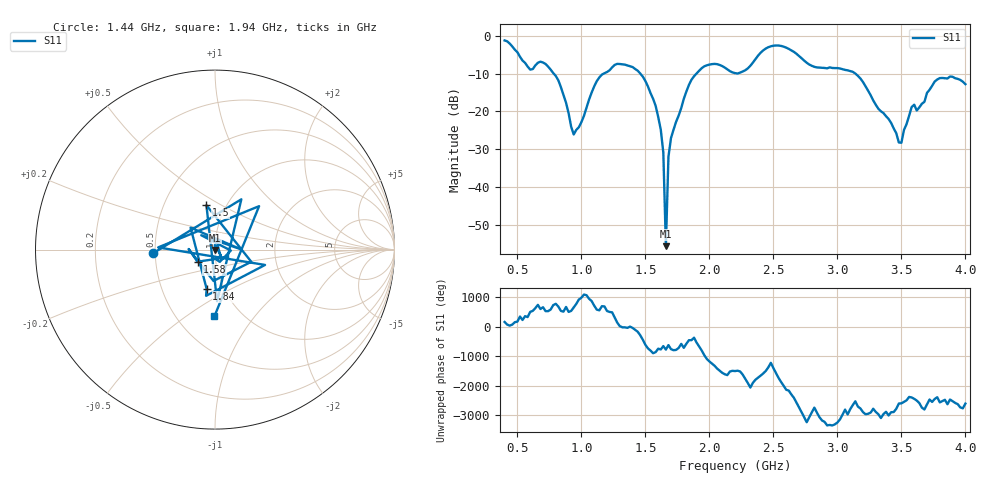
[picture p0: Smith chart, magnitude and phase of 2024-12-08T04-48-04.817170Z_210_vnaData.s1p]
!Created with skrf (http://scikit-rf.org).
# Hz S RI R 50.0
!freq ReS11 ImS11
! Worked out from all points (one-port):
!   181 points, 400 MHz to 4 GHz, reference 50 ohm
!   lowest |S11| = -55.5 dB at 1.66 GHz (marker M1), VSWR 1.00, Z = 50.1 - j0.144 ohm
!   |S11| at or under -10 dB: 783.6 MHz to 1.175 GHz (391.4 MHz wide, 40 % of centre); 1.46 GHz to 1.899 GHz (439.2 MHz wide, 26.1 % of centre); 3.14 GHz to end of sweep
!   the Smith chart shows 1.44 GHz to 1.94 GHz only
!   S11 on the Smith chart (normalised r, x): 1.44 GHz: 0.49, -0.02; 1.5 GHz: 0.81, +0.43; 1.58 GHz: 0.82, -0.11; 1.84 GHz: 0.83, -0.38; 1.94 GHz: 0.75, -0.65
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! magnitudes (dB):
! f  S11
! 400 MHz  -1.3
! 600 MHz  -9.0
! 720 MHz  -7.5
! 860 MHz  -15.7
! 940 MHz  -26.1
! 1.12 GHz  -12.0
! 1.3 GHz  -7.5
! 1.44 GHz  -9.3
! 1.5 GHz  -12.0
! 1.58 GHz  -18.5
! 1.62 GHz  -24.8
! 1.64 GHz  -30.9
! 1.66 GHz  -55.5
! 1.68 GHz  -31.9
! 1.7 GHz  -27.0
! 1.76 GHz  -21.1
! 1.84 GHz  -13.0
! 1.94 GHz  -8.6
! 2.2 GHz  -9.9
! 2.46 GHz  -3.0
! 2.66 GHz  -4.3
! 2.82 GHz  -8.2
! 3.1 GHz  -9.3
! 3.4 GHz  -22.0
! 3.48 GHz  -28.2
! 3.56 GHz  -21.2
! 3.78 GHz  -11.6
! 4 GHz  -12.8
